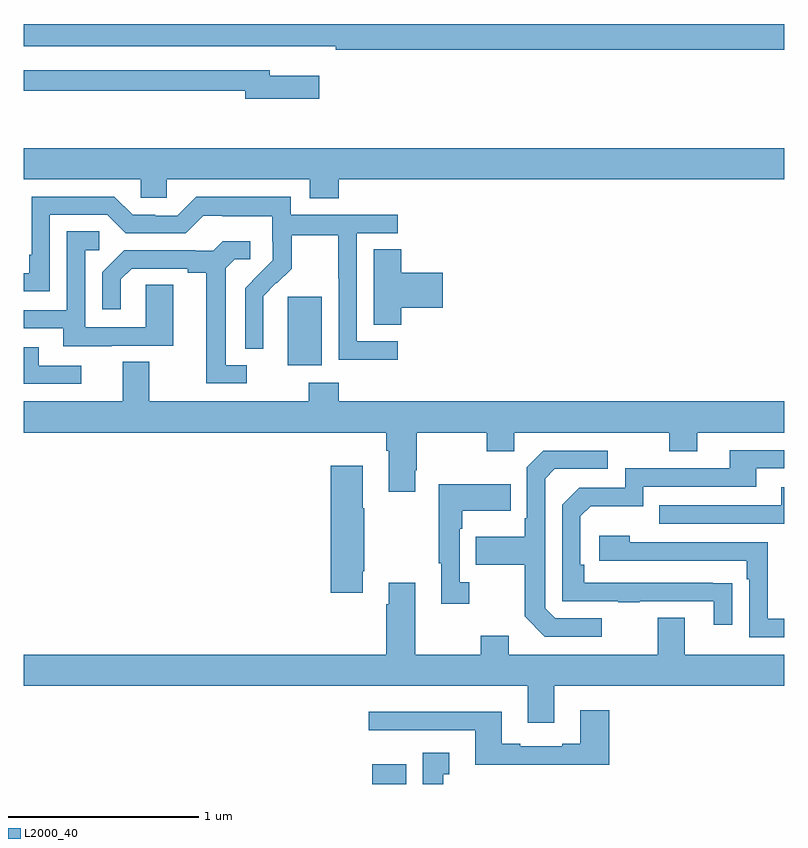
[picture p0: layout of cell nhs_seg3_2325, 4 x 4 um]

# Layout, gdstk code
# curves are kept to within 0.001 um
import gdstk
lib = gdstk.Library(unit=1e-6, precision=1e-09)
def R(c, l, rs):  # rectangles x0, y0, x1, y1
    for r in rs: c.add(gdstk.rectangle(r[:2], r[2:], *l))
def P(c, l, *ps):  # polygons
    for p in ps: c.add(gdstk.Polygon(p, *l))
L2000_40 = (2000, 40)

nhs_seg3_2325 = lib.new_cell('nhs_seg3_2325')
R(nhs_seg3_2325, L2000_40, [(232.832,700.4,233.011,700.504), (232.388,702.602,232.567,702.963)])
P(nhs_seg3_2325, L2000_40, [(235,704.396),(231,704.396),(231,704.28),(232.39,704.28),(232.39,704.279),(232.642,704.279),(232.642,704.26),(235,704.26)],
  [(232.555,704.125),(232.294,704.125),(232.294,704.154),(231,704.154),(231,704.046),(232.166,704.046),(232.166,704.003),(232.555,704.003)],
  [(232.658,703.58),(235,703.58),(235,703.744),(231,703.744),(231,703.58),(231.615,703.58),(231.615,703.482),(231.753,703.482),(231.753,703.58),(232.505,703.58),(232.505,703.481),(232.658,703.481)],
  [(232.966,702.729),(232.752,702.729),(232.752,703.296),(232.966,703.296),(232.966,703.392),(232.404,703.392),(232.404,703.489),(231.907,703.489),(231.807,703.389),(231.692,703.389),(231.692,703.392),(231.573,703.392),(231.477,703.488),(231.042,703.488),(231.042,703.183),(231.029,703.183),(231.029,703.086),(231,703.086),(231,702.99),(231.138,702.99),(231.138,703.392),(231.441,703.392),(231.537,703.296),(231.852,703.296),(231.945,703.389),(232.045,703.389),(232.045,703.385),(232.308,703.385),(232.308,703.251),(232.31,703.251),(232.31,703.154),(232.164,703.006),(232.164,702.688),(232.26,702.688),(232.259,702.965),(232.329,703.035),(232.332,703.032),(232.409,703.109),(232.409,703.284),(232.654,703.284),(232.654,703.06),(232.656,703.06),(232.656,702.631),(232.966,702.631)],
  [(231.463,702.705),(231.787,702.705),(231.787,703.025),(231.642,703.025),(231.642,702.801),(231.324,702.801),(231.324,703.206),(231.397,703.206),(231.397,703.307),(231.228,703.307),(231.228,702.891),(231,702.891),(231,702.795),(231.209,702.795),(231.209,702.701),(231.463,702.701)],
  [(232.174,702.603),(232.063,702.603),(232.063,703.111),(232.11,703.158),(232.192,703.158),(232.192,703.255),(232.048,703.255),(231.996,703.203),(231.902,703.203),(231.902,703.206),(231.53,703.206),(231.414,703.09),(231.414,702.897),(231.511,702.897),(231.511,703.053),(231.568,703.11),(231.863,703.11),(231.863,703.088),(231.959,703.088),(231.959,702.507),(232.174,702.507)],
  [(232.985,702.905),(233.203,702.905),(233.203,703.088),(232.985,703.088),(232.985,703.211),(232.841,703.211),(232.841,702.814),(232.985,702.814)],
  [(231.304,702.6),(231.079,702.6),(231.079,702.696),(231,702.696),(231,702.504),(231.304,702.504)],
  [(233.059,702.049),(233.067,702.049),(233.067,702.248),(233.434,702.248),(233.434,702.149),(233.58,702.149),(233.58,702.248),(234.394,702.248),(234.394,702.149),(234.541,702.149),(234.541,702.248),(235,702.248),(235,702.412),(232.658,702.412),(232.658,702.511),(232.498,702.511),(232.498,702.412),(231.661,702.412),(231.661,702.62),(231.521,702.62),(231.521,702.412),(231,702.412),(231,702.248),(232.907,702.248),(232.907,702.152),(232.919,702.152),(232.919,701.937),(233.059,701.937)],
  [(234.725,701.456),(233.948,701.457),(233.948,701.554),(233.928,701.554),(233.928,701.808),(233.981,701.861),(234.258,701.861),(234.258,701.964),(234.853,701.964),(234.853,702.06),(235,702.06),(235,702.156),(234.713,702.156),(234.713,702.06),(234.162,702.06),(234.162,701.958),(233.922,701.958),(233.832,701.868),(233.832,701.361),(234.127,701.361),(234.127,701.356),(234.239,701.356),(234.239,701.361),(234.629,701.361),(234.629,701.238),(234.725,701.238)],
  [(234.04,701.271),(233.796,701.271),(233.742,701.325),(233.742,702.006),(233.793,702.057),(234.07,702.057),(234.07,702.153),(233.733,702.153),(233.646,702.066),(233.646,701.797),(233.634,701.797),(233.634,701.701),(233.377,701.701),(233.377,701.554),(233.634,701.554),(233.634,701.281),(233.739,701.175),(234.04,701.175)],
  [(232.783,701.518),(232.791,701.518),(232.791,701.849),(232.783,701.849),(232.783,702.073),(232.616,702.073),(232.616,701.406),(232.783,701.406)],
  [(233.344,701.462),(233.292,701.462),(233.292,701.741),(233.305,701.741),(233.305,701.837),(233.561,701.837),(233.561,701.977),(233.184,701.977),(233.184,701.561),(233.195,701.561),(233.195,701.349),(233.344,701.349)],
  [(235,701.959),(234.983,701.959),(234.983,701.865),(234.343,701.865),(234.343,701.769),(235,701.769)],
  [(235,701.268),(234.912,701.268),(234.912,701.67),(234.188,701.67),(234.188,701.704),(234.027,701.704),(234.027,701.574),(234.803,701.574),(234.803,701.477),(234.816,701.477),(234.816,701.172),(235,701.172)],
  [(233.791,700.916),(235,700.916),(235,701.08),(234.475,701.08),(234.475,701.275),(234.335,701.275),(234.335,701.08),(233.551,701.08),(233.551,701.179),(233.404,701.179),(233.404,701.08),(233.059,701.08),(233.059,701.458),(232.919,701.458),(232.919,701.345),(232.907,701.345),(232.907,701.08),(231,701.08),(231,700.916),(233.651,700.916),(233.651,700.722),(233.791,700.722)],
  [(234.08,700.789),(233.927,700.789),(233.927,700.612),(233.831,700.612),(233.831,700.599),(233.611,700.599),(233.611,700.612),(233.515,700.612),(233.515,700.78),(232.815,700.78),(232.815,700.683),(233.375,700.683),(233.375,700.502),(234.08,700.502)],
  [(233.206,700.451),(233.239,700.451),(233.239,700.564),(233.099,700.564),(233.099,700.4),(233.206,700.4)])

lib.write_gds('nhs_seg3_2325.gds')
